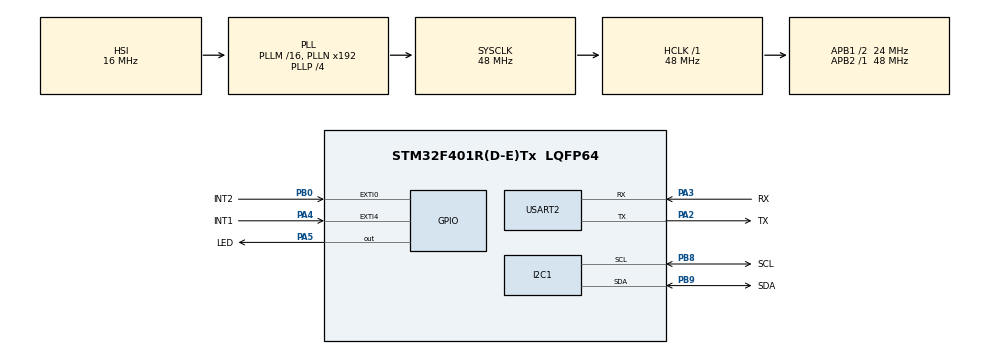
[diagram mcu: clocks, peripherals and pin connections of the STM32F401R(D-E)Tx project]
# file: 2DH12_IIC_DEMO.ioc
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I2C1.I2C_Mode=I2C_Fast
Mcu.Family=STM32F4
Mcu.Name=STM32F401R(D-E)Tx
Mcu.Package=LQFP64
NVIC.EXTI0_IRQn=true\:2\:0\:true\:false\:true\:true
NVIC.EXTI4_IRQn=true\:2\:0\:true\:false\:true\:true
NVIC.PriorityGroup=NVIC_PRIORITYGROUP_4
NVIC.USART2_IRQn=true\:3\:0\:true\:false\:true\:true
PA2.GPIO_Label=TX
PA2.Mode=Asynchronous
PA2.Signal=USART2_TX
PA3.GPIO_Label=RX
PA3.Mode=Asynchronous
PA3.Signal=USART2_RX
PA4.GPIO_Label=INT1
PA4.Signal=GPXTI4
PA5.GPIO_Label=LED
PA5.Signal=GPIO_Output
PB0.GPIO_Label=INT2
PB0.Signal=GPXTI0
PB8.GPIO_Label=SCL
PB8.Mode=I2C
PB8.Signal=I2C1_SCL
PB9.GPIO_Label=SDA
PB9.Mode=I2C
PB9.Signal=I2C1_SDA
ProjectManager.HeapSize=0x200
ProjectManager.StackSize=0x400
ProjectManager.TargetToolchain=MDK-ARM V5
RCC.AHBFreq_Value=48000000
RCC.APB1CLKDivider=RCC_HCLK_DIV2
RCC.APB1Freq_Value=24000000
RCC.APB1TimFreq_Value=48000000
RCC.APB2Freq_Value=48000000
RCC.APB2TimFreq_Value=48000000
RCC.CortexFreq_Value=48000000
RCC.HCLKFreq_Value=48000000
RCC.HSE_VALUE=25000000
RCC.HSI_VALUE=16000000
RCC.LSE_VALUE=32768
RCC.PLLP=RCC_PLLP_DIV4
RCC.SYSCLKFreq_VALUE=48000000
RCC.SYSCLKSource=RCC_SYSCLKSOURCE_PLLCLK
RCC.VCOOutputFreq_Value=192000000
USART2.VirtualMode=VM_ASYNC
board=2DH12_IIC_DEMO

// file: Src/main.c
/**
  ******************************************************************************
  * File Name          : main.c
  * Description        : Main program body
  ******************************************************************************
  ** This notice applies to any and all portions of this file
  * that are not between comment pairs USER CODE BEGIN and
  * USER CODE END. Other portions of this file, whether
  * inserted by the user or by software development tools
  * are owned by their respective copyright owners.
  *
  * COPYRIGHT(c) 2018 STMicroelectronics
  *
  * Redistribution and use in source and binary forms, with or without modification,
  * are permitted provided that the following conditions are met:
  *   1. Redistributions of source code must retain the above copyright notice,
  *      this list of conditions and the following disclaimer.
  *   2. Redistributions in binary form must reproduce the above copyright notice,
  *      this list of conditions and the following disclaimer in the documentation
  *      and/or other materials provided with the distribution.
  *   3. Neither the name of STMicroelectronics nor the names of its contributors
  *      may be used to endorse or promote products derived from this software
  *      without specific prior written permission.
  *
  * THIS SOFTWARE IS PROVIDED BY THE COPYRIGHT HOLDERS AND CONTRIBUTORS "AS IS"
  * AND ANY EXPRESS OR IMPLIED WARRANTIES, INCLUDING, BUT NOT LIMITED TO, THE
  * IMPLIED WARRANTIES OF MERCHANTABILITY AND FITNESS FOR A PARTICULAR PURPOSE ARE
  * DISCLAIMED. IN NO EVENT SHALL THE COPYRIGHT HOLDER OR CONTRIBUTORS BE LIABLE
  * FOR ANY DIRECT, INDIRECT, INCIDENTAL, SPECIAL, EXEMPLARY, OR CONSEQUENTIAL
  * DAMAGES (INCLUDING, BUT NOT LIMITED TO, PROCUREMENT OF SUBSTITUTE GOODS OR
  * SERVICES; LOSS OF USE, DATA, OR PROFITS; OR BUSINESS INTERRUPTION) HOWEVER
  * CAUSED AND ON ANY THEORY OF LIABILITY, WHETHER IN CONTRACT, STRICT LIABILITY,
  * OR TORT (INCLUDING NEGLIGENCE OR OTHERWISE) ARISING IN ANY WAY OUT OF THE USE
  * OF THIS SOFTWARE, EVEN IF ADVISED OF THE POSSIBILITY OF SUCH DAMAGE.
  *
  ******************************************************************************
  */

#include "main.h"
#include "stm32f4xx_hal.h"
#include "i2c.h"
#include "usart.h"
#include "gpio.h"

/* USER CODE BEGIN Includes */
#include "LIS2DH12_ACC_data.h"
/* USER CODE END Includes */

/* USER CODE BEGIN PV */
/* Private variables ---------------------------------------------------------*/

/* USER CODE END PV */

void SystemClock_Config(void);

/* USER CODE BEGIN PFP */
/* Private function prototypes -----------------------------------------------*/

/* USER CODE END PFP */

/* USER CODE BEGIN 0 */
SensorAxes_t ACC_Value;                  /*!< Acceleration Value */
uint8_t Updata_flag = 0;
/* USER CODE END 0 */

int main(void)
{

    /* MCU Configuration----------------------------------------------------------*/

    /* Reset of all peripherals, Initializes the Flash interface and the Systick. */
    HAL_Init();

    /* Configure the system clock */
    SystemClock_Config();

    /* Initialize all configured peripherals */
    MX_GPIO_Init();
    MX_I2C1_Init();
    MX_USART2_UART_Init();

    /* USER CODE BEGIN 2 */
    printf("This is LIS2DH12 Demo \r\n");
    HAL_Delay(50);//50ms֮���ڲ���2DH12��ֹ��������
    while(! LIS2DH12_Detection(&hi2c1))
    {
        printf("LIS2DH12 Device ID error  \r\n");
        HAL_Delay(200);
    }
    printf("LIS2DH12 Device ID OK\r\n");

    init_LIS2DH12_ACC(&hi2c1);
    init_LIS2DH12_ACC_Threshold(&hi2c1, 0x30, LIS2DH12_ACC_INT2);
    /* USER CODE END 2 */

    /* Infinite loop */
    while (1)
    {

        /* USER CODE BEGIN 3 */

        if (Updata_flag == 1)
        {
						Updata_flag = 0;
            LIS2DH12_X_Get_Axes(&hi2c1, &ACC_Value);
            printf("/***************************/");
            printf("\r\n");
            printf("LIS2DH12 Data X= %d\r\n", ACC_Value.AXIS_X);
            printf("LIS2DH12 Data Y= %d\r\n", ACC_Value.AXIS_Y);
            printf("LIS2DH12 Data Z= %d\r\n", ACC_Value.AXIS_Z);
            printf("\r\n");
            printf("/***************************/");
            printf("\r\n");
            printf("\r\n");
            printf("\r\n");
        }
        LED_ON;
        HAL_Delay(200);
        LED_OFF;
        HAL_Delay(200);
    }
    /* USER CODE END 3 */

}

/** System Clock Configuration
*/
void SystemClock_Config(void)
{

    RCC_OscInitTypeDef RCC_OscInitStruct;
    RCC_ClkInitTypeDef RCC_ClkInitStruct;

    /**Configure the main internal regulator output voltage
    */
    __HAL_RCC_PWR_CLK_ENABLE();

    __HAL_PWR_VOLTAGESCALING_CONFIG(PWR_REGULATOR_VOLTAGE_SCALE2);

    /**Initializes the CPU, AHB and APB busses clocks
    */
    RCC_OscInitStruct.OscillatorType = RCC_OSCILLATORTYPE_HSI;
    RCC_OscInitStruct.HSIState = RCC_HSI_ON;
    RCC_OscInitStruct.HSICalibrationValue = 16;
    RCC_OscInitStruct.PLL.PLLState = RCC_PLL_ON;
    RCC_OscInitStruct.PLL.PLLSource = RCC_PLLSOURCE_HSI;
    RCC_OscInitStruct.PLL.PLLM = 16;
    RCC_OscInitStruct.PLL.PLLN = 192;
    RCC_OscInitStruct.PLL.PLLP = RCC_PLLP_DIV4;
    RCC_OscInitStruct.PLL.PLLQ = 4;
    if (HAL_RCC_OscConfig(&RCC_OscInitStruct) != HAL_OK)
    {
        _Error_Handler(__FILE__, __LINE__);
    }

    /**Initializes the CPU, AHB and APB busses clocks
    */
    RCC_ClkInitStruct.ClockType = RCC_CLOCKTYPE_HCLK | RCC_CLOCKTYPE_SYSCLK
                                  | RCC_CLOCKTYPE_PCLK1 | RCC_CLOCKTYPE_PCLK2;
    RCC_ClkInitStruct.SYSCLKSource = RCC_SYSCLKSOURCE_PLLCLK;
    RCC_ClkInitStruct.AHBCLKDivider = RCC_SYSCLK_DIV1;
    RCC_ClkInitStruct.APB1CLKDivider = RCC_HCLK_DIV2;
    RCC_ClkInitStruct.APB2CLKDivider = RCC_HCLK_DIV1;

    if (HAL_RCC_ClockConfig(&RCC_ClkInitStruct, FLASH_LATENCY_1) != HAL_OK)
    {
        _Error_Handler(__FILE__, __LINE__);
    }

    /**Configure the Systick interrupt time
    */
    HAL_SYSTICK_Config(HAL_RCC_GetHCLKFreq() / 1000);

    /**Configure the Systick
    */
    HAL_SYSTICK_CLKSourceConfig(SYSTICK_CLKSOURCE_HCLK);

    /* SysTick_IRQn interrupt configuration */
    HAL_NVIC_SetPriority(SysTick_IRQn, 0, 0);
}

void _Error_Handler(char *file, int line)
{
    while(1)
    {
    }
}

/************************ (C) COPYRIGHT STMicroelectronics *****END OF FILE****/
